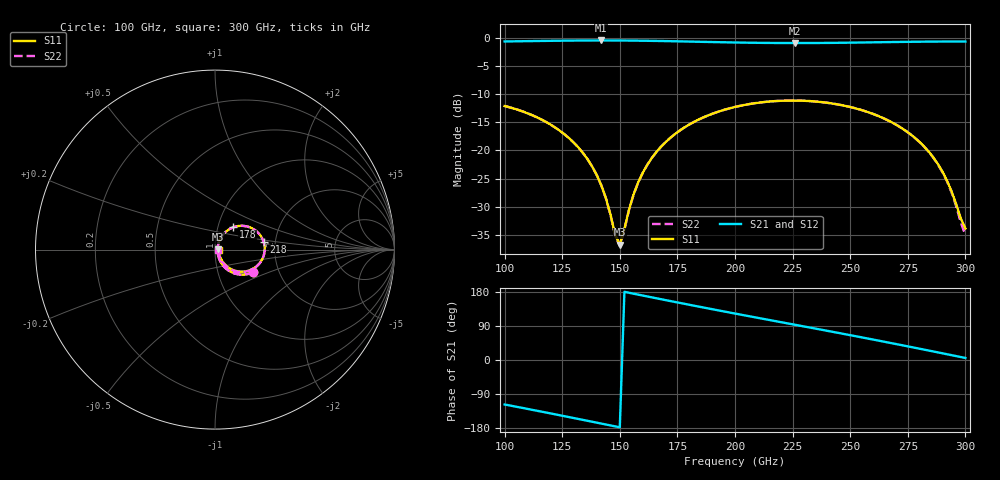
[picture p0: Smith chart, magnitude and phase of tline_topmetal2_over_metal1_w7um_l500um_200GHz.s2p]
#  GHZ S DB R 50
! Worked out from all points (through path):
!   101 points, 100 GHz to 300 GHz, reference 50 ohm
!   highest |S21| = -0.48 dB at 142 GHz (marker M1); lowest = -0.9 dB at 226 GHz (marker M2)
!   group delay of S21, straight-line fit = 3.27 ps
!   lowest |S11| = -36.7 dB at 150 GHz (marker M3), VSWR 1.03, Z = 51.5 + j0.163 ohm
!   |S11| at or under -10 dB: start of sweep to end of sweep
!   |S22| runs from -37.0 to -11.2 dB; largest |S21 - S12| = 1.6e-13
!   S11 on the Smith chart (normalised r, x): 100 GHz: 1.48, -0.39; 178 GHz: 1.18, +0.30; 218 GHz: 1.73, +0.16; 300 GHz: 1.04, -0.00
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100  -12.12 -30.1  -0.66 -117.4  -0.66 -117.4  -12.12 -30.2
120  -15.43 -51.1  -0.55 -141.0  -0.55 -141.0  -15.43 -51.3
134  -20.45 -63.5  -0.49 -158.0  -0.49 -158.0  -20.46 -63.9
142  -26.23 -64.5  -0.48 -167.8  -0.48 -167.8  -26.24 -65.2
146  -31.47 -53.6  -0.49 -172.7  -0.49 -172.7  -31.54 -54.7
148  -35.02 -34.2  -0.49 -175.2  -0.49 -175.2  -35.19 -35.4
150  -36.72 6.2  -0.49 -177.7  -0.49 -177.7  -37.01 6.1
154  -30.50 55.1  -0.51 177.4  -0.51 177.4  -30.58 55.7
158  -25.66 63.3  -0.52 172.5  -0.52 172.5  -25.69 63.6
162  -22.51 63.5  -0.54 167.6  -0.54 167.6  -22.52 63.7
168  -19.30 60.0  -0.58 160.3  -0.58 160.3  -19.31 60.1
178  -15.94 50.9  -0.66 148.3  -0.66 148.3  -15.94 50.9
200  -12.29 28.1  -0.84 122.6  -0.84 122.6  -12.29 27.9
218  -11.23 9.1  -0.93 102.1  -0.93 102.1  -11.23 8.8
226  -11.15 0.6  -0.94 93.0  -0.94 93.0  -11.15 0.3
234  -11.29 -7.8  -0.94 83.9  -0.94 83.9  -11.29 -8.2
252  -12.50 -26.8  -0.86 63.2  -0.86 63.2  -12.51 -27.3
268  -15.01 -43.1  -0.77 44.4  -0.77 44.4  -15.01 -43.9
280  -18.47 -53.8  -0.71 29.9  -0.71 29.9  -18.49 -55.0
288  -22.39 -57.5  -0.68 20.1  -0.68 20.1  -22.45 -59.5
294  -27.26 -52.4  -0.67 12.8  -0.67 12.8  -27.47 -55.7
300  -33.88 -5.3  -0.68 5.4  -0.68 5.4  -35.05 -7.2
